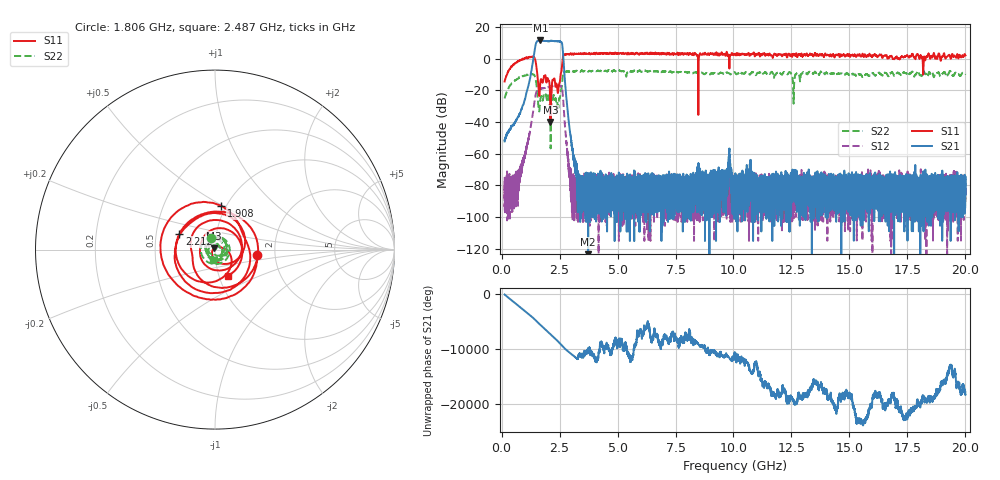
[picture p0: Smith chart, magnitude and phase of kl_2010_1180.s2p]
!Created with skrf (http://scikit-rf.org).
# GHz S RI R 50.0
!freq ReS11 ImS11 ReS21 ImS21 ReS12 ImS12 ReS22 ImS22
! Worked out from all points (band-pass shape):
!   20013 points, 130 MHz to 20 GHz, reference 50 ohm
!   highest |S21| = 11.61 dB at 1.673 GHz (marker M1); lowest = -178.6 dB at 3.734 GHz (marker M2)
!   |S21| within 3 dB of the highest: 1.463 GHz to 2.617 GHz (1.155 GHz wide, 56.6 % of centre)
!   lowest |S11| = -40.0 dB at 2.106 GHz (marker M3), VSWR 1.02, Z = 49.2 + j0.606 ohm
!   |S11| at or under -10 dB: start of sweep to 231.6 MHz; 1.541 GHz to 2.546 GHz (1.005 GHz wide, 49.2 % of centre); 8.480193 GHz to 8.488114 GHz (7.921 MHz wide, 0.0934 % of centre)
!   |S22| runs from -56.6 to -7.1 dB; largest |S21 - S12| = 3.9
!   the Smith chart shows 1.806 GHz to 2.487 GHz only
!   S11 on the Smith chart (normalised r, x): 1.806 GHz: 1.61, -0.10; 1.908 GHz: 0.95, +0.49; 2.212 GHz: 0.66, +0.12; 2.487 GHz: 1.10, -0.33
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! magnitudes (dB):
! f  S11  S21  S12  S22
! 130 MHz  -14.3  -52.2  -85.0  -25.0
! 754 MHz  -1.2  -35.5  -76.6  -11.8
! 1.374 GHz  1.2  0.1  -32.0  -9.9
! 1.673 GHz  -14.6  11.6  -19.0  -25.2
! 1.806 GHz  -12.6  11.5  -18.5  -23.5
! 1.908 GHz  -12.2  11.2  -18.3  -22.7
! 2.106 GHz  -40.0  11.3  -17.6  -40.4
! 2.212 GHz  -13.3  11.3  -17.2  -25.4
! 2.487 GHz  -15.7  11.0  -17.1  -25.0
! 2.628 GHz  -0.7  7.0  -20.8  -11.5
! 2.983 GHz  3.5  -49.5  -76.5  -7.8
! 3.251 GHz  3.2  -84.2  -80.2  -7.6
! 3.442 GHz  3.0  -93.5  -88.6  -7.4
! 3.734 GHz  3.1  -178.6  -80.4  -8.1
! 6.754 GHz  3.4  -89.5  -78.7  -8.1
! 9.482 GHz  3.9  -73.9  -89.7  -8.9
! 9.805 GHz  0.8  -61.3  -90.7  -9.1
! 10.06 GHz  3.2  -76.5  -78.0  -8.5
! 10.65 GHz  3.7  -85.0  -79.6  -9.1
! 13.38 GHz  3.0  -79.7  -85.1  -8.8
! 16.69 GHz  1.1  -79.2  -82.0  -10.8
! 20 GHz  2.0  -85.6  -79.4  -9.3
